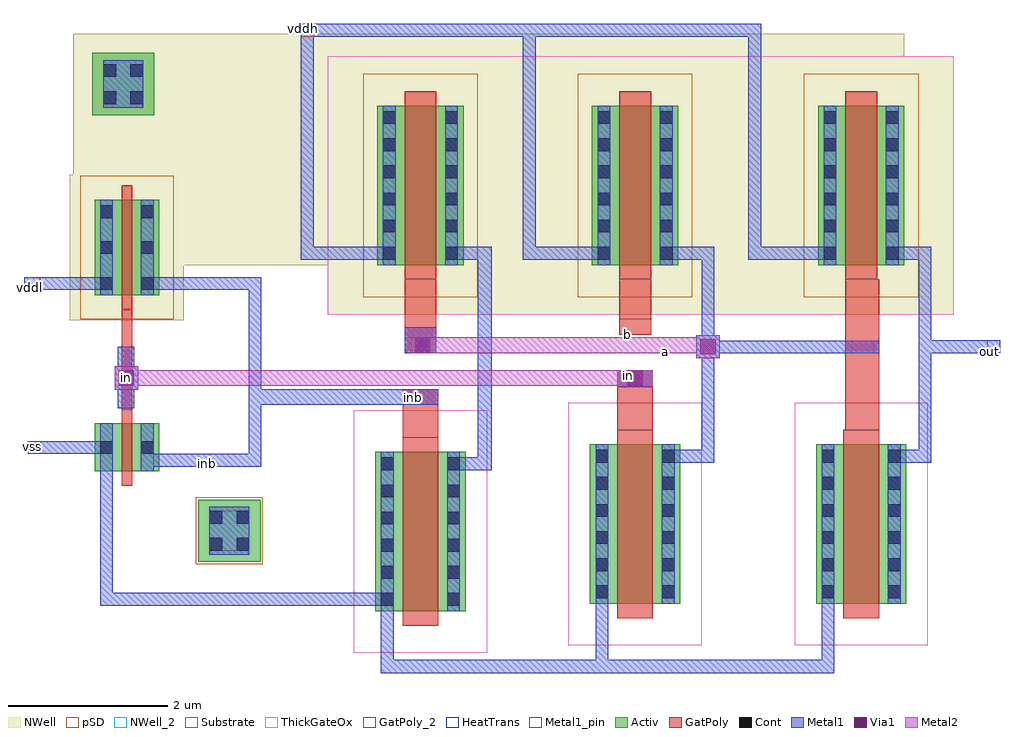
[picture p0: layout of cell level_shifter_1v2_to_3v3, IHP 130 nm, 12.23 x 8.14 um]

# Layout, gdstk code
import gdstk
lib = gdstk.Library(unit=1e-6, precision=1e-09)
def R(c, l, rs):  # rectangles x0, y0, x1, y1
    for r in rs: c.add(gdstk.rectangle(r[:2], r[2:], *l))
def A(c, l, x, y, w, h, nx, ny, dx, dy):  # array of equal rectangles
    R(c, l, [(x+i*dx, y+j*dy, x+i*dx+w, y+j*dy+h) for i in range(nx) for j in range(ny)])
Activ = (1, 0)
GatPoly = (5, 0)
GatPoly_2 = (5, 2)
Cont = (6, 0)
Metal1 = (8, 0)
Metal1_pin = (8, 2)
Metal2 = (10, 0)
pSD = (14, 0)
Via1 = (19, 0)
NWell = (31, 0)
NWell_2 = (31, 2)
Substrate = (40, 0)
ThickGateOx = (44, 0)
HeatTrans = (51, 0)

pmos = lib.new_cell('pmos')
R(pmos, Activ, [(0,0,0.3,0.3), (0,0,0.81,1.2), (0.51,0,0.81,0.3)])
R(pmos, GatPoly, [(0.34,-0.18,0.47,1.38), (0.34,-0.18,0.47,1.38)])
A(pmos, Cont, 0.07, 0.07, 0.16, 0.16, 1, 3, 0, 0.45)
A(pmos, Cont, 0.58, 0.07, 0.16, 0.16, 1, 3, 0, 0.45)
R(pmos, Metal1, [(0.07,0,0.23,1.2), (0.07,0,0.23,1.2), (0.58,0,0.74,1.2), (0.58,0,0.74,1.2)])
R(pmos, pSD, [(-0.18,-0.3,0.99,1.5)])
R(pmos, NWell, [(-0.31,-0.31,1.12,1.51)])
R(pmos, HeatTrans, [(0.34,-0.18,0.47,1.38)])
pmos.add(gdstk.Label('pmos', (0.405,0.6), layer=63, texttype=0))
pmos.add(gdstk.Label('pmos', (0.405,0.6), layer=51, texttype=0))

nmos = lib.new_cell('nmos')
R(nmos, Activ, [(0,0,0.3,0.3), (0,0,0.81,0.6), (0.51,0,0.81,0.3)])
R(nmos, GatPoly, [(0.34,-0.18,0.47,0.78)])
R(nmos, GatPoly_2, [(0.34,-0.18,0.47,0.78)])
R(nmos, Cont, [(0.07,0.22,0.23,0.38), (0.58,0.22,0.74,0.38)])
R(nmos, Metal1, [(0.07,0,0.23,0.6), (0.58,0,0.74,0.6)])
R(nmos, Metal1_pin, [(0.07,0,0.23,0.6), (0.58,0,0.74,0.6)])
R(nmos, HeatTrans, [(0.34,-0.18,0.47,0.78)])
nmos.add(gdstk.Label('nmos', (0.405,0.3), layer=63, texttype=0))
nmos.add(gdstk.Label('nmos', (0.405,0.3), layer=51, texttype=0))

nmoshv = lib.new_cell('nmosHV')
R(nmoshv, Activ, [(0,0,0.3,0.3), (0,0,1.13,2), (0.83,0,1.13,0.3)])
R(nmoshv, GatPoly, [(0.34,-0.18,0.79,2.18)])
R(nmoshv, GatPoly_2, [(0.34,-0.18,0.79,2.18)])
A(nmoshv, Cont, 0.07, 0.07, 0.16, 0.16, 1, 6, 0, 0.34)
A(nmoshv, Cont, 0.9, 0.07, 0.16, 0.16, 1, 6, 0, 0.34)
R(nmoshv, Metal1, [(0.07,0,0.23,2), (0.9,0,1.06,2)])
R(nmoshv, Metal1_pin, [(0.07,0,0.23,2), (0.9,0,1.06,2)])
R(nmoshv, ThickGateOx, [(-0.27,-0.52,1.4,2.52)])
R(nmoshv, HeatTrans, [(0.34,-0.18,0.79,2.18)])
nmoshv.add(gdstk.Label('nmosHV', (0.565,1), layer=63, texttype=0))
nmoshv.add(gdstk.Label('nmosHV', (0.565,1), layer=51, texttype=0))

pmoshv = lib.new_cell('pmosHV')
R(pmoshv, Activ, [(0,0,0.3,0.3), (0,0,1.08,2), (0.78,0,1.08,0.3)])
R(pmoshv, GatPoly, [(0.34,-0.18,0.74,2.18)])
R(pmoshv, GatPoly_2, [(0.34,-0.18,0.74,2.18)])
A(pmoshv, Cont, 0.07, 0.07, 0.16, 0.16, 1, 6, 0, 0.34)
A(pmoshv, Cont, 0.85, 0.07, 0.16, 0.16, 1, 6, 0, 0.34)
R(pmoshv, Metal1, [(0.07,0,0.23,2), (0.85,0,1.01,2)])
R(pmoshv, Metal1_pin, [(0.07,0,0.23,2), (0.85,0,1.01,2)])
R(pmoshv, pSD, [(-0.18,-0.4,1.26,2.4)])
R(pmoshv, NWell, [(-0.62,-0.62,1.7,2.62)])
R(pmoshv, ThickGateOx, [(-0.62,-0.62,1.7,2.62)])
R(pmoshv, HeatTrans, [(0.34,-0.18,0.74,2.18)])
pmoshv.add(gdstk.Label('pmosHV', (0.54,1), layer=63, texttype=0))
pmoshv.add(gdstk.Label('pmos', (0.54,1), layer=51, texttype=0))

ptap1 = lib.new_cell('ptap1')
R(ptap1, Activ, [(0,0,0.78,0.78)])
R(ptap1, Cont, [(0.14,0.14,0.3,0.3), (0.48,0.14,0.64,0.3), (0.14,0.48,0.3,0.64), (0.48,0.48,0.64,0.64)])
R(ptap1, Metal1, [(0.14,0.09,0.64,0.69), (0.14,0.14,0.64,0.64)])
R(ptap1, Metal1_pin, [(0.14,0.14,0.64,0.64)])
R(ptap1, pSD, [(-0.03,-0.03,0.81,0.81)])
R(ptap1, Substrate, [(0,0,0.78,0.78)])
ptap1.add(gdstk.Label('sub!', (0.39,0.01), layer=63, texttype=0))
ptap1.add(gdstk.Label('sub!', (0.39,0.01), layer=40, texttype=0))

ntap1 = lib.new_cell('ntap1')
R(ntap1, Activ, [(0,0,0.78,0.78)])
R(ntap1, Cont, [(0.14,0.14,0.3,0.3), (0.48,0.14,0.64,0.3), (0.14,0.48,0.3,0.64), (0.48,0.48,0.64,0.64)])
R(ntap1, Metal1, [(0.14,0.09,0.64,0.69)])
R(ntap1, Metal1_pin, [(0.14,0.09,0.64,0.69), (0.14,0.14,0.64,0.64)])
R(ntap1, NWell, [(-0.24,-0.24,1.02,1.02), (0,0,0.78,0.78)])
R(ntap1, NWell_2, [(0,0,0.78,0.78)])
ntap1.add(gdstk.Label('well', (0.39,0.01), layer=63, texttype=0))
ntap1.add(gdstk.Label('well', (0.39,0.01), layer=31, texttype=0))

level_shifter_1v2_to_3v3 = lib.new_cell('level_shifter_1v2_to_3v3')
R(level_shifter_1v2_to_3v3, GatPoly, [(1.515,-0.285,1.965,0.32), (4.21,-0.19,4.655,0.56), (7.065,-0.19,7.49,1.695), (-2.005,0.07,-1.875,1.315), (1.54,0.77,1.94,1.695), (4.23,1,4.63,1.695)])
R(level_shifter_1v2_to_3v3, GatPoly_2, [(1.65,0.125,1.835,0.32), (4.335,0.365,4.525,0.555), (-2.005,0.38,-1.875,0.54), (7.145,0.77,7.425,0.93), (1.54,0.805,1.94,0.965), (4.23,1,4.63,1.2)])
R(level_shifter_1v2_to_3v3, Cont, [(-2.275,1.565,-2.115,1.725)])
R(level_shifter_1v2_to_3v3, Metal1, [(1.245,-3.24,6.93,-3.07), (1.245,-3.07,1.405,-2.235), (3.935,-3.07,4.095,-2.14), (6.77,-3.07,6.93,-2.14), (-2.275,-2.395,-2.115,-0.49), (-2.115,-2.395,1.405,-2.235), (2.075,-0.695,2.635,-0.535), (2.46,-0.695,2.635,2.105), (-1.765,-0.65,-0.255,-0.49), (4.765,-0.6,5.425,-0.44), (7.6,-0.6,7.925,-0.44), (7.925,-0.6,7.985,-0.44), (7.985,-0.6,8.145,0.935), (-3.18,-0.49,-2.275,-0.33), (-2.275,-0.49,-2.115,-0.33), (-0.415,-0.49,-0.255,0.32), (5.265,-0.44,5.425,0.753), (-2.055,0.08,-1.845,0.855), (-0.255,0.125,1.965,0.32), (-2.095,0.315,-1.8,0.605), (-0.415,0.32,-0.255,1.725), (4.21,0.35,4.655,0.56), (5.195,0.705,5.49,0.995), (5.265,0.753,5.425,0.77), (1.54,0.77,1.94,1.095), (5.265,0.77,7.49,0.93), (7.985,0.77,9.005,0.935), (7.985,0.77,8.145,2.105), (5.265,0.93,5.425,1.945), (-3.23,1.565,-2.115,1.725), (-1.765,1.565,-0.255,1.725), (0.24,1.945,1.43,2.105), (2.05,1.945,2.635,2.105), (3.025,1.945,4.12,2.105), (4.74,1.945,5.425,2.105), (5.85,1.945,6.945,2.105), (7.575,1.945,8.145,2.105), (0.24,2.105,0.4,4.74), (3.025,2.105,3.185,4.74), (5.85,2.105,6.01,4.74), (0.24,4.74,6.01,4.9)])
R(level_shifter_1v2_to_3v3, Metal1_pin, [(-3.18,-0.49,-3.025,-0.33), (8.845,0.77,9.005,0.935), (-3.23,1.565,-3.025,1.725), (0.24,4.74,0.4,4.9)])
R(level_shifter_1v2_to_3v3, Metal2, [(-2.095,0.315,-1.8,0.605), (4.21,0.345,4.65,0.36), (-2.005,0.36,4.655,0.56), (5.195,0.705,5.49,0.995), (1.62,0.77,5.425,0.97), (1.62,0.97,1.94,0.98)])
R(level_shifter_1v2_to_3v3, Via1, [(4.335,0.36,4.525,0.55), (-2.045,0.365,-1.855,0.555), (5.25,0.755,5.44,0.945), (1.67,0.78,1.86,0.97)])
R(level_shifter_1v2_to_3v3, NWell, [(2.9,1.255,3.27,4.495), (5.59,1.255,6.105,4.495), (-2.615,1.875,7.805,4.775)])
R(level_shifter_1v2_to_3v3, ThickGateOx, [(2.9,1.255,3.27,4.495), (5.59,1.255,6.105,4.495)])
level_shifter_1v2_to_3v3.add(gdstk.Reference(pmos, (-2.345,1.495)))
level_shifter_1v2_to_3v3.add(gdstk.Reference(nmos, (-2.345,-0.71)))
level_shifter_1v2_to_3v3.add(gdstk.Reference(nmoshv, (1.175,-2.465)))
level_shifter_1v2_to_3v3.add(gdstk.Reference(pmoshv, (3.89,1.875)))
level_shifter_1v2_to_3v3.add(gdstk.Reference(nmoshv, (3.865,-2.37)))
level_shifter_1v2_to_3v3.add(gdstk.Reference(pmoshv, (1.2,1.875)))
level_shifter_1v2_to_3v3.add(gdstk.Reference(pmoshv, (6.725,1.875)))
level_shifter_1v2_to_3v3.add(gdstk.Reference(nmoshv, (6.7,-2.37)))
level_shifter_1v2_to_3v3.add(gdstk.Reference(ptap1, (-1.045,-1.845)))
level_shifter_1v2_to_3v3.add(gdstk.Reference(ntap1, (-2.375,3.755)))
level_shifter_1v2_to_3v3.add(gdstk.Label('vddl', (-3.165,1.595), layer=8, texttype=0))
level_shifter_1v2_to_3v3.add(gdstk.Label('vss', (-3.125,-0.4), layer=8, texttype=0))
level_shifter_1v2_to_3v3.add(gdstk.Label('vddh', (0.28,4.84), layer=8, texttype=0))
level_shifter_1v2_to_3v3.add(gdstk.Label('in', (4.345,0.49), layer=8, texttype=0))
level_shifter_1v2_to_3v3.add(gdstk.Label('out', (8.875,0.795), layer=8, texttype=0))
level_shifter_1v2_to_3v3.add(gdstk.Label('a', (4.81,0.79), layer=5, texttype=0))
level_shifter_1v2_to_3v3.add(gdstk.Label('b', (4.34,1), layer=5, texttype=0))
level_shifter_1v2_to_3v3.add(gdstk.Label('in', (-1.95,0.47), layer=5, texttype=2))
level_shifter_1v2_to_3v3.add(gdstk.Label('inb', (1.65,0.22), layer=5, texttype=2))
level_shifter_1v2_to_3v3.add(gdstk.Label('VSSL', (-3.135,-0.44), layer=8, texttype=1))
level_shifter_1v2_to_3v3.add(gdstk.Label('VDDL', (-3.155,1.645), layer=8, texttype=1))
level_shifter_1v2_to_3v3.add(gdstk.Label('inb', (-0.935,-0.61), layer=8, texttype=1))

lib.write_gds('level_shifter_1v2_to_3v3.gds')
